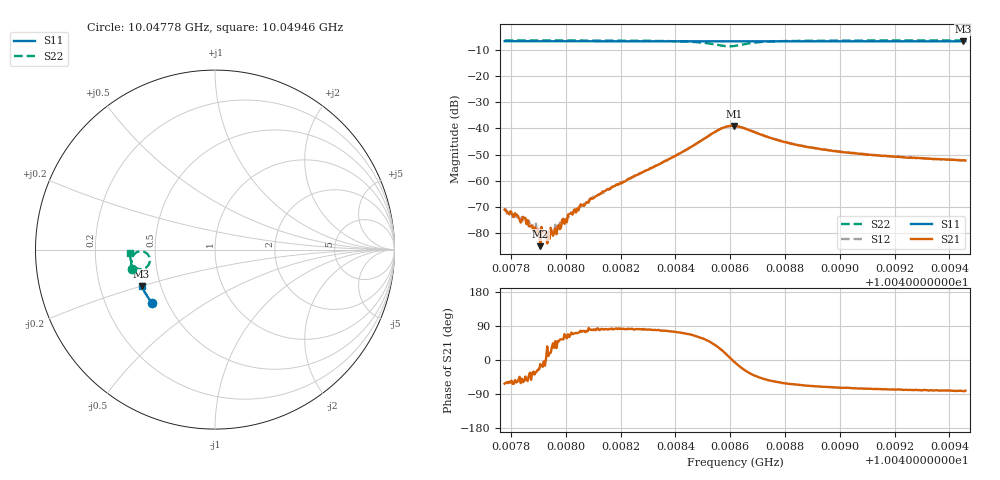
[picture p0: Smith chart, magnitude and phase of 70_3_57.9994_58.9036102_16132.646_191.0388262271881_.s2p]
#  HZ  S  RI  R  50.00
! Rohde & Schwarz Vector Network Analyzer
! Rohde-Schwarz,ZNB20-2Port,1311601062101988,3.16
! Created: UTC 3/21/2024, 12:53:22 AM
! freq[Hz]  re:S11  im:S11  re:S21  im:S21  re:S12  im:S12  re:S22  im:S22
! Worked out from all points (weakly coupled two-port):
!   401 points, 10.04778 GHz to 10.04946 GHz, reference 50 ohm
!   highest |S21| = -39.00 dB at 10.04861 GHz (marker M1); lowest = -84.9 dB at 10.04791 GHz (marker M2)
!   lowest |S11| = -6.8 dB at 10.04945 GHz (marker M3), VSWR 2.68, Z = 19.5 - j10 ohm
!   |S11| at or under -10 dB: nowhere
!   |S22| runs from -8.7 to -6.5 dB; largest |S21 - S12| = 0.00081
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1.0047777e10  -0.3508 -0.2973  0.000131 -0.000252  0.000168 -0.00021  -0.4635 -0.1057
1.0047831e10  -0.353 -0.2942  0.000132 -0.000129  0.000148 -0.000138  -0.4642 -0.1016
1.0047852e10  -0.3539 -0.2932  0.000142 -0.000136  0.000124 -0.000119  -0.4645 -0.1
1.0047873e10  -0.3548 -0.2921  8.58e-05 -0.000111  8.54e-05 -9.62e-05  -0.4647 -0.0982
1.0047898e10  -0.3558 -0.2906  0.000107 -5e-05  8.86e-05 -5.29e-05  -0.465 -0.0961
1.0047907e10  -0.3562 -0.2903  5.62e-05 -1.08e-05  0.000116 -2.6e-05  -0.465 -0.0955
1.0047928e10  -0.357 -0.2892  0.00011 8.82e-06  8.79e-05 3.79e-05  -0.4652 -0.0937
1.0047957e10  -0.3582 -0.2876  8.95e-05 5.65e-05  7.5e-05 7.44e-05  -0.4656 -0.0913
1.0047974e10  -0.3589 -0.2868  9.49e-05 0.000111  9.26e-05 0.000104  -0.4657 -0.0898
1.0047983e10  -0.3593 -0.2863  7.64e-05 0.000107  5.54e-05 0.000131  -0.4657 -0.0891
1.0048016e10  -0.3605 -0.2845  0.000101 0.000219  4.32e-05 0.000234  -0.4661 -0.0861
1.0048058e10  -0.3622 -0.2821  9.26e-05 0.000329  5.38e-05 0.000336  -0.4664 -0.0822
1.0048105e10  -0.3642 -0.2798  7.86e-05 0.000482  4.68e-05 0.0005  -0.4667 -0.0777
1.004834e10  -0.373 -0.2668  0.00039 0.00203  0.000266 0.00207  -0.463 -0.0479
1.0048563e10  -0.3805 -0.2538  0.00842 0.00478  0.00812 0.00532  -0.383 -0.0187
1.0048613e10  -0.3817 -0.2516  0.0112 -0.000777  0.0112 3.33e-05  -0.365 -0.0731
1.0048618e10  -0.3817 -0.2514  0.0111 -0.0013  0.0112 -0.000529  -0.3664 -0.078
1.0048786e10  -0.3883 -0.2424  0.00288 -0.00499  0.00323 -0.00484  -0.4526 -0.0913
1.0048899e10  -0.3922 -0.2359  0.00157 -0.00401  0.00183 -0.00393  -0.4645 -0.0724
1.0049181e10  -0.4012 -0.2194  0.000632 -0.00289  0.000819 -0.00287  -0.4725 -0.0417
1.004945e10  -0.4089 -0.2034  0.000349 -0.00245  0.000517 -0.00244  -0.4744 -0.0194
1.0049459e10  -0.4093 -0.2028  0.000376 -0.00242  0.000486 -0.00242  -0.4745 -0.0186
